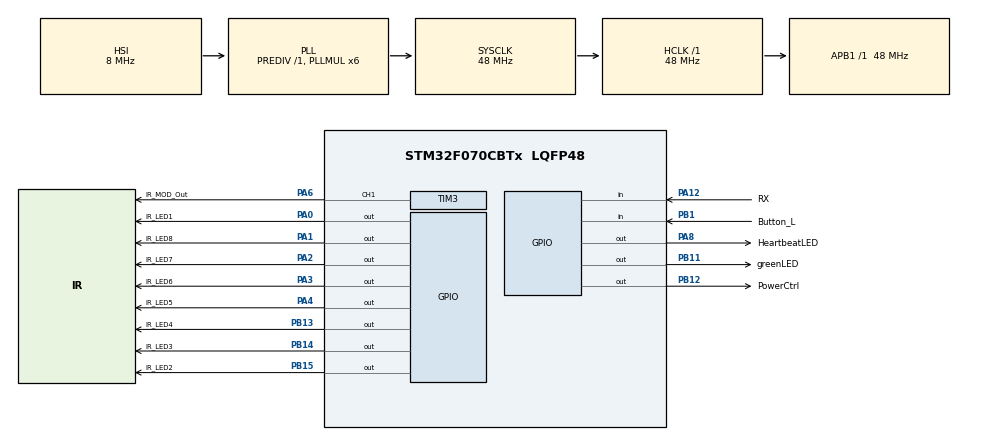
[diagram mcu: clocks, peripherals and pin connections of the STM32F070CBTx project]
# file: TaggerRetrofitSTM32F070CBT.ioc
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FREERTOS.Queues01=LED_BlinkStyle,1,LED_BlinkProfile,0,Dynamic,NULL,NULL;tagSignature,1,LTTO_IR_SIGNATURE_t,0,Dynamic,NULL,NULL
FREERTOS.Tasks01=defaultTask,24,128,StartDefaultTask,Default,NULL,Dynamic,NULL,NULL;emitTag,32,128,StartEmitTag,Default,NULL,Dynamic,NULL,NULL;LED,24,128,StartLEDFlash,Default,NULL,Dynamic,NULL,NULL;buttonMonitor,8,128,StartButtonMonitor,Default,NULL,Dynamic,NULL,NULL
Mcu.Family=STM32F0
Mcu.Name=STM32F070CBTx
Mcu.Package=LQFP48
NVIC.TIM17_IRQn=true\:0\:0\:false\:false\:true\:false\:false\:true
NVIC.TIM6_IRQn=true\:3\:0\:false\:false\:true\:true\:true\:true
NVIC.TimeBase=TIM17_IRQn
NVIC.TimeBaseIP=TIM17
PA0.GPIO_Label=IR_LED1
PA0.Signal=GPIO_Output
PA1.GPIO_Label=IR_LED8
PA1.Signal=GPIO_Output
PA12.GPIO_Label=RX
PA12.Signal=GPIO_Input
PA13.Mode=Serial_Wire
PA13.Signal=SYS_SWDIO
PA14.Mode=Serial_Wire
PA14.Signal=SYS_SWCLK
PA2.GPIO_Label=IR_LED7
PA2.Signal=GPIO_Output
PA3.GPIO_Label=IR_LED6
PA3.Signal=GPIO_Output
PA4.GPIO_Label=IR_LED5
PA4.Signal=GPIO_Output
PA6.GPIO_Label=IR_MOD_Out
PA6.Signal=S_TIM3_CH1
PA8.GPIO_Label=HeartbeatLED
PA8.Signal=GPIO_Output
PB1.GPIO_Label=Button_L
PB1.GPIO_PuPd=GPIO_PULLUP
PB1.Signal=GPIO_Input
PB11.GPIO_Label=greenLED
PB11.Signal=GPIO_Output
PB12.GPIO_Label=PowerCtrl
PB12.Signal=GPIO_Output
PB13.GPIO_Label=IR_LED4
PB13.Signal=GPIO_Output
PB14.GPIO_Label=IR_LED3
PB14.Signal=GPIO_Output
PB15.GPIO_Label=IR_LED2
PB15.Signal=GPIO_Output
ProjectManager.HeapSize=0x200
ProjectManager.StackSize=0x400
ProjectManager.TargetToolchain=STM32CubeIDE
RCC.AHBFreq_Value=48000000
RCC.APB1Freq_Value=48000000
RCC.APB1TimFreq_Value=48000000
RCC.HCLKFreq_Value=48000000
RCC.PLLMUL=RCC_PLL_MUL6
RCC.SYSCLKFreq_VALUE=48000000
RCC.SYSCLKSource=RCC_SYSCLKSOURCE_PLLCLK
SH.S_TIM3_CH1.0=TIM3_CH1,PWM Generation1 CH1
TIM3.Channel-PWM\ Generation1\ CH1=TIM_CHANNEL_1
TIM3.Period=1895
TIM3.Pulse-PWM\ Generation1\ CH1=948
TIM6.Period=200-1
TIM6.Prescaler=40-1
VP_FREERTOS_VS_CMSIS_V2.Mode=CMSIS_V2
VP_SYS_VS_tim17.Mode=TIM17
VP_TIM6_VS_ClockSourceINT.Mode=Enable_Timer
board=custom

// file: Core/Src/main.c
/* USER CODE BEGIN Header */
/**
 ******************************************************************************
 * @file           : main.c
 * @brief          : Main program body
 ******************************************************************************
 * @attention
 *
 * <h2><center>&copy; Copyright (c) 2020 STMicroelectronics.
 * All rights reserved.</center></h2>
 *
 * This software component is licensed by ST under BSD 3-Clause license,
 * the "License"; You may not use this file except in compliance with the
 * License. You may obtain a copy of the License at:
 *                        opensource.org/licenses/BSD-3-Clause
 *
 ******************************************************************************
 */
/* USER CODE END Header */
#include "main.h"
#include "cmsis_os.h"

/* USER CODE BEGIN Includes */
#include "queue.h"
#include "stdbool.h"

#include "../../Libraries/ltto-ir/LTTO_IR_DataStructures.h"
#include "../../Libraries/ltto-ir/LTTO_IR_RX_AutoConvert.h"
#include "../../Libraries/ltto-ir/LTTO_IR_RX.h"
#include "../../Libraries/ltto-ir/LTTO_IR_TX.h"
/* USER CODE END Includes */

/* USER CODE BEGIN PTD */
typedef enum {
	PROGRAM = 1,
	COUNTDOWN = 2,
	DETONATE = 3,
	SHUTDOWN = 4
} StateMachineState;

typedef enum {
	ULTRA = 1,
	SLOW_BLINK = 2,
	MEDIUM_BLINK = 3,
	FAST_BLINK = 4,
	SOLID_LED = 5,
	OCCASIONAL_BLIP = 6
} LED_BlinkProfile;

/* USER CODE END PTD */

TIM_HandleTypeDef htim3;
TIM_HandleTypeDef htim6;

/* Definitions for defaultTask */
osThreadId_t defaultTaskHandle;
const osThreadAttr_t defaultTask_attributes = {
  .name = "defaultTask",
  .priority = (osPriority_t) osPriorityNormal,
  .stack_size = 128 * 4
};
/* Definitions for emitTag */
osThreadId_t emitTagHandle;
const osThreadAttr_t emitTag_attributes = {
  .name = "emitTag",
  .priority = (osPriority_t) osPriorityAboveNormal,
  .stack_size = 128 * 4
};
/* Definitions for LED */
osThreadId_t LEDHandle;
const osThreadAttr_t LED_attributes = {
  .name = "LED",
  .priority = (osPriority_t) osPriorityNormal,
  .stack_size = 128 * 4
};
/* Definitions for buttonMonitor */
osThreadId_t buttonMonitorHandle;
const osThreadAttr_t buttonMonitor_attributes = {
  .name = "buttonMonitor",
  .priority = (osPriority_t) osPriorityLow,
  .stack_size = 128 * 4
};
/* Definitions for LED_BlinkStyle */
osMessageQueueId_t LED_BlinkStyleHandle;
const osMessageQueueAttr_t LED_BlinkStyle_attributes = {
  .name = "LED_BlinkStyle"
};
/* Definitions for tagSignature */
osMessageQueueId_t tagSignatureHandle;
const osMessageQueueAttr_t tagSignature_attributes = {
  .name = "tagSignature"
};
/* USER CODE BEGIN PV */
StateMachineState presentState = PROGRAM;
LTTO_IR_SIGNATURE_t tempSignature;
/* USER CODE END PV */

void SystemClock_Config(void);
static void MX_GPIO_Init(void);
static void MX_TIM3_Init(void);
static void MX_TIM6_Init(void);
void StartDefaultTask(void *argument);
void StartEmitTag(void *argument);
void StartLEDFlash(void *argument);
void StartButtonMonitor(void *argument);

int main(void)
{

  /* MCU Configuration--------------------------------------------------------*/

  /* Reset of all peripherals, Initializes the Flash interface and the Systick. */
  HAL_Init();

  /* Configure the system clock */
  SystemClock_Config();

  /* Initialize all configured peripherals */
  MX_GPIO_Init();
  MX_TIM3_Init();
  MX_TIM6_Init();
  /* USER CODE BEGIN 2 */

	//Start Timer
	HAL_TIM_Base_Start_IT(&htim6);
	// Start the 38kHz PWM output
	HAL_TIM_PWM_Start(&htim3, TIM_CHANNEL_1);

  /* USER CODE END 2 */

  /* Init scheduler */
  osKernelInitialize();

  /* Create the queue(s) */
  /* creation of LED_BlinkStyle */
  LED_BlinkStyleHandle = osMessageQueueNew (1, sizeof(LED_BlinkProfile), &LED_BlinkStyle_attributes);

  /* creation of tagSignature */
  tagSignatureHandle = osMessageQueueNew (1, sizeof(LTTO_IR_SIGNATURE_t), &tagSignature_attributes);

  /* Create the thread(s) */
  /* creation of defaultTask */
  defaultTaskHandle = osThreadNew(StartDefaultTask, NULL, &defaultTask_attributes);

  /* creation of emitTag */
  emitTagHandle = osThreadNew(StartEmitTag, NULL, &emitTag_attributes);

  /* creation of LED */
  LEDHandle = osThreadNew(StartLEDFlash, NULL, &LED_attributes);

  /* creation of buttonMonitor */
  buttonMonitorHandle = osThreadNew(StartButtonMonitor, NULL, &buttonMonitor_attributes);

  /* Start scheduler */
  osKernelStart();

  /* We should never get here as control is now taken by the scheduler */
  /* Infinite loop */
	while (1)
	{

	}
}

void SystemClock_Config(void)
{
  RCC_OscInitTypeDef RCC_OscInitStruct = {0};
  RCC_ClkInitTypeDef RCC_ClkInitStruct = {0};

  /** Initializes the RCC Oscillators according to the specified parameters
  * in the RCC_OscInitTypeDef structure.
  */
  RCC_OscInitStruct.OscillatorType = RCC_OSCILLATORTYPE_HSI;
  RCC_OscInitStruct.HSIState = RCC_HSI_ON;
  RCC_OscInitStruct.HSICalibrationValue = RCC_HSICALIBRATION_DEFAULT;
  RCC_OscInitStruct.PLL.PLLState = RCC_PLL_ON;
  RCC_OscInitStruct.PLL.PLLSource = RCC_PLLSOURCE_HSI;
  RCC_OscInitStruct.PLL.PLLMUL = RCC_PLL_MUL6;
  RCC_OscInitStruct.PLL.PREDIV = RCC_PREDIV_DIV1;
  if (HAL_RCC_OscConfig(&RCC_OscInitStruct) != HAL_OK)
  {
    Error_Handler();
  }
  /** Initializes the CPU, AHB and APB buses clocks
  */
  RCC_ClkInitStruct.ClockType = RCC_CLOCKTYPE_HCLK|RCC_CLOCKTYPE_SYSCLK
                              |RCC_CLOCKTYPE_PCLK1;
  RCC_ClkInitStruct.SYSCLKSource = RCC_SYSCLKSOURCE_PLLCLK;
  RCC_ClkInitStruct.AHBCLKDivider = RCC_SYSCLK_DIV1;
  RCC_ClkInitStruct.APB1CLKDivider = RCC_HCLK_DIV1;

  if (HAL_RCC_ClockConfig(&RCC_ClkInitStruct, FLASH_LATENCY_1) != HAL_OK)
  {
    Error_Handler();
  }
}

static void MX_TIM3_Init(void)
{

  TIM_MasterConfigTypeDef sMasterConfig = {0};
  TIM_OC_InitTypeDef sConfigOC = {0};

  htim3.Instance = TIM3;
  htim3.Init.Prescaler = 0;
  htim3.Init.CounterMode = TIM_COUNTERMODE_UP;
  htim3.Init.Period = 1895;
  htim3.Init.ClockDivision = TIM_CLOCKDIVISION_DIV1;
  htim3.Init.AutoReloadPreload = TIM_AUTORELOAD_PRELOAD_DISABLE;
  if (HAL_TIM_PWM_Init(&htim3) != HAL_OK)
  {
    Error_Handler();
  }
  sMasterConfig.MasterOutputTrigger = TIM_TRGO_RESET;
  sMasterConfig.MasterSlaveMode = TIM_MASTERSLAVEMODE_DISABLE;
  if (HAL_TIMEx_MasterConfigSynchronization(&htim3, &sMasterConfig) != HAL_OK)
  {
    Error_Handler();
  }
  sConfigOC.OCMode = TIM_OCMODE_PWM1;
  sConfigOC.Pulse = 948;
  sConfigOC.OCPolarity = TIM_OCPOLARITY_HIGH;
  sConfigOC.OCFastMode = TIM_OCFAST_DISABLE;
  if (HAL_TIM_PWM_ConfigChannel(&htim3, &sConfigOC, TIM_CHANNEL_1) != HAL_OK)
  {
    Error_Handler();
  }
  HAL_TIM_MspPostInit(&htim3);

}

static void MX_TIM6_Init(void)
{

  htim6.Instance = TIM6;
  htim6.Init.Prescaler = 40-1;
  htim6.Init.CounterMode = TIM_COUNTERMODE_UP;
  htim6.Init.Period = 200-1;
  htim6.Init.AutoReloadPreload = TIM_AUTORELOAD_PRELOAD_DISABLE;
  if (HAL_TIM_Base_Init(&htim6) != HAL_OK)
  {
    Error_Handler();
  }

}

static void MX_GPIO_Init(void)
{
  GPIO_InitTypeDef GPIO_InitStruct = {0};

  /* GPIO Ports Clock Enable */
  __HAL_RCC_GPIOA_CLK_ENABLE();
  __HAL_RCC_GPIOB_CLK_ENABLE();

  /*Configure GPIO pin Output Level */
  HAL_GPIO_WritePin(GPIOA, IR_LED1_Pin|IR_LED8_Pin|IR_LED7_Pin|IR_LED6_Pin
                          |IR_LED5_Pin|HeartbeatLED_Pin, GPIO_PIN_RESET);

  /*Configure GPIO pin Output Level */
  HAL_GPIO_WritePin(GPIOB, greenLED_Pin|PowerCtrl_Pin|IR_LED4_Pin|IR_LED3_Pin
                          |IR_LED2_Pin, GPIO_PIN_RESET);

  /*Configure GPIO pins : IR_LED1_Pin IR_LED8_Pin IR_LED7_Pin IR_LED6_Pin
                           IR_LED5_Pin HeartbeatLED_Pin */
  GPIO_InitStruct.Pin = IR_LED1_Pin|IR_LED8_Pin|IR_LED7_Pin|IR_LED6_Pin
                          |IR_LED5_Pin|HeartbeatLED_Pin;
  GPIO_InitStruct.Mode = GPIO_MODE_OUTPUT_PP;
  GPIO_InitStruct.Pull = GPIO_NOPULL;
  GPIO_InitStruct.Speed = GPIO_SPEED_FREQ_LOW;
  HAL_GPIO_Init(GPIOA, &GPIO_InitStruct);

  /*Configure GPIO pin : Button_L_Pin */
  GPIO_InitStruct.Pin = Button_L_Pin;
  GPIO_InitStruct.Mode = GPIO_MODE_INPUT;
  GPIO_InitStruct.Pull = GPIO_PULLUP;
  HAL_GPIO_Init(Button_L_GPIO_Port, &GPIO_InitStruct);

  /*Configure GPIO pins : greenLED_Pin PowerCtrl_Pin IR_LED4_Pin IR_LED3_Pin
                           IR_LED2_Pin */
  GPIO_InitStruct.Pin = greenLED_Pin|PowerCtrl_Pin|IR_LED4_Pin|IR_LED3_Pin
                          |IR_LED2_Pin;
  GPIO_InitStruct.Mode = GPIO_MODE_OUTPUT_PP;
  GPIO_InitStruct.Pull = GPIO_NOPULL;
  GPIO_InitStruct.Speed = GPIO_SPEED_FREQ_LOW;
  HAL_GPIO_Init(GPIOB, &GPIO_InitStruct);

  /*Configure GPIO pin : RX_Pin */
  GPIO_InitStruct.Pin = RX_Pin;
  GPIO_InitStruct.Mode = GPIO_MODE_INPUT;
  GPIO_InitStruct.Pull = GPIO_NOPULL;
  HAL_GPIO_Init(RX_GPIO_Port, &GPIO_InitStruct);

}

void StartDefaultTask(void *argument)
{
  /* USER CODE BEGIN 5 */
	HAL_GPIO_WritePin(PowerCtrl_GPIO_Port, PowerCtrl_Pin, GPIO_PIN_SET);
	LED_BlinkProfile blinkStyle;
	/* Infinite loop */
	for(;;)
	{
		switch(presentState){
		case PROGRAM:
			if(LTTO_IR_RX_AC_NewSingleSignatureReady()) {
				LTTO_IR_RX_AC_GetSingleSignature(&tempSignature);
				if(tempSignature.signatureType == LTTO_IR_SIGNATURE_TYPE_TAG) {
					presentState = COUNTDOWN;
				}
				LTTO_IR_RX_AC_Clear();
			}
			osDelay(10);
			break;
		case COUNTDOWN:
			blinkStyle = SLOW_BLINK;
			xQueueSendToBack(LED_BlinkStyleHandle, &blinkStyle, 0);
			osDelay(5000);
			if(presentState == SHUTDOWN){ //Lazy way to make sure we respond to button hold
				break;
			}

			blinkStyle = MEDIUM_BLINK;
			xQueueSendToBack(LED_BlinkStyleHandle, &blinkStyle, 0);
			osDelay(3000);
			if(presentState == SHUTDOWN){ //Lazy way to make sure we respond to button hold
				break;
			}

			blinkStyle = FAST_BLINK;
			xQueueSendToBack(LED_BlinkStyleHandle, &blinkStyle, 0);
			osDelay(2000);

			xQueueSendToBack(tagSignatureHandle, &tempSignature, 0);
			blinkStyle = SOLID_LED;
			xQueueSendToBack(LED_BlinkStyleHandle, &blinkStyle, 0);
			presentState = DETONATE;
			break;
		case DETONATE:

			osDelay(5); //Wait for detonate to complete (or button to be held)
			break;

		case SHUTDOWN:
			blinkStyle = OCCASIONAL_BLIP;
			xQueueSendToBack(LED_BlinkStyleHandle, &blinkStyle, 0);
			HAL_GPIO_WritePin(PowerCtrl_GPIO_Port, PowerCtrl_Pin, GPIO_PIN_RESET);
			break;
		}
		osDelay(10);
	}
  /* USER CODE END 5 */
}

void StartEmitTag(void *argument)
{
  /* USER CODE BEGIN StartEmitTag */
	/* Infinite loop */
	for(;;)
	{
		//Our TX buffer
		int LTTO_IR_TX_txPulseMS[21];
		int LTTO_IR_TX_txPulseCount = 0;
		LTTO_IR_SIGNATURE_t signatureToSend;

		GPIO_TypeDef* portArray[8] = {IR_LED1_GPIO_Port, IR_LED2_GPIO_Port, IR_LED3_GPIO_Port,
				IR_LED4_GPIO_Port, IR_LED5_GPIO_Port, IR_LED6_GPIO_Port, IR_LED7_GPIO_Port, IR_LED8_GPIO_Port};
		uint16_t pinArray [8] = {IR_LED1_Pin, IR_LED2_Pin, IR_LED3_Pin, IR_LED4_Pin, IR_LED5_Pin,
				IR_LED6_Pin, IR_LED7_Pin, IR_LED8_Pin };

		xQueueReceive(tagSignatureHandle, &signatureToSend, portMAX_DELAY);
		LTTO_IR_CONV_SignatureToPulses(&signatureToSend, &LTTO_IR_TX_txPulseMS, &LTTO_IR_TX_txPulseCount);
		//LTTO_IR_SIGNATURE_t *sourceSignature, int destinationPulseTickMSBuffer[], int *destinationPulseCount
		for(int detonationRound = 0; detonationRound < 3; detonationRound++){ //Fire off 3 sets of 8 shots
			for(int emitter = 0; emitter < 8; emitter++) {
				for(int pulseIndex = 0; pulseIndex < LTTO_IR_TX_txPulseCount; pulseIndex++){
					if(pulseIndex % 2 == 0) {
						//Odd index, active IR period
						HAL_GPIO_WritePin(portArray[emitter], pinArray[emitter], GPIO_PIN_SET);
						osDelay(LTTO_IR_TX_txPulseMS[pulseIndex]);
					}
					else{
						//Even index, inactive IR period
						HAL_GPIO_WritePin(portArray[emitter], pinArray[emitter], GPIO_PIN_RESET);
						osDelay(LTTO_IR_TX_txPulseMS[pulseIndex]);
					}
				}
				osDelay(100); //100 ms inter-tag spacing
			}
		}
		presentState = SHUTDOWN; //kill the power
		osDelay(1000); //Sleep so other tasks can grab the Mutex
	}
  /* USER CODE END StartEmitTag */
}

void StartLEDFlash(void *argument)
{
  /* USER CODE BEGIN StartLEDFlash */
	LED_BlinkProfile blinkStyle = ULTRA;
	uint16_t onTime;
	uint16_t offTime;
	uint32_t prevTime;
	bool LEDisOn;

	xQueueSendToBack(LED_BlinkStyleHandle, &blinkStyle, 0);
	/* Infinite loop */
	for(;;)
	{
		if(xQueueReceive(LED_BlinkStyleHandle, &blinkStyle, 0)){
			switch(blinkStyle){
			case ULTRA:
				onTime = 20;
				offTime = 20;
				break;
			case SLOW_BLINK:
				onTime = 500;
				offTime = 500;
				break;
			case MEDIUM_BLINK:
				onTime = 200;
				offTime = 200;
				break;
			case FAST_BLINK:
				onTime = 100;
				offTime = 100;
				break;
			case SOLID_LED:
				onTime = 65000;
				offTime = 0;
				break;
			case OCCASIONAL_BLIP:
				onTime = 20;
				offTime = 1000;
			}
			prevTime = HAL_GetTick();
			//Start with LED on
			LEDisOn = true;
			HAL_GPIO_WritePin(greenLED_GPIO_Port, greenLED_Pin, GPIO_PIN_RESET); //Turn on the LED (inverted)
			HAL_GPIO_WritePin(HeartbeatLED_GPIO_Port, HeartbeatLED_Pin, GPIO_PIN_SET); //Turn on the heartbeat LED
		}
		if(LEDisOn){
			if(HAL_GetTick()-prevTime > onTime){ //If on-time has elapsed
				HAL_GPIO_WritePin(greenLED_GPIO_Port, greenLED_Pin, GPIO_PIN_SET); //Turn off the LED (inverted)
				HAL_GPIO_WritePin(HeartbeatLED_GPIO_Port, HeartbeatLED_Pin, GPIO_PIN_RESET); //Turn off the heartbeat LED
				LEDisOn = false;
				prevTime = HAL_GetTick(); //Reset timer so we can time the off time
			}
		}
		else{
			if(HAL_GetTick()-prevTime > offTime){ //If off-time has elapsed
				HAL_GPIO_WritePin(greenLED_GPIO_Port, greenLED_Pin, GPIO_PIN_RESET); //Turn on the LED (inverted)
				HAL_GPIO_WritePin(HeartbeatLED_GPIO_Port, HeartbeatLED_Pin, GPIO_PIN_SET); //Turn on the heartbeat LED
				LEDisOn = true;
				prevTime = HAL_GetTick(); //Reset timer so we can time the off time
			}
		}
		osDelay(10);
	}

  /* USER CODE END StartLEDFlash */
}

void StartButtonMonitor(void *argument)
{
  /* USER CODE BEGIN StartButtonMonitor */
	int resetCount = 30; //for button push
	int failToProgramCount = 60 * 10; //Shutdown if not programmed within 60s
	int interval = 100; //ms
	int currentCount = resetCount;
	/* Infinite loop */
	for(;;)
	{
		if(HAL_GPIO_ReadPin(Button_L_GPIO_Port, Button_L_Pin)==GPIO_PIN_RESET){ //button pressed
			currentCount--; //decrement the countdown
		}
		else{
			currentCount = resetCount; //reset the countdown
		}
		if(presentState == PROGRAM){
			failToProgramCount--;
		}
		if(currentCount <= 0 || failToProgramCount <= 0){
			presentState = SHUTDOWN; //kill the power
		}
		osDelay(interval);
	}
  /* USER CODE END StartButtonMonitor */
}

 /**
  * @brief  Period elapsed callback in non blocking mode
  * @note   This function is called  when TIM17 interrupt took place, inside
  * HAL_TIM_IRQHandler(). It makes a direct call to HAL_IncTick() to increment
  * a global variable "uwTick" used as application time base.
  * @param  htim : TIM handle
  * @retval None
  */
void HAL_TIM_PeriodElapsedCallback(TIM_HandleTypeDef *htim)
{
  /* USER CODE BEGIN Callback 0 */

	static uint16_t IR_RX_SensorTicks = 0;
	static bool IR_RX_LastState;
	static bool IR_RX_currentState;
  /* USER CODE END Callback 0 */
  if (htim->Instance == TIM17) {
    HAL_IncTick();
  }
  /* USER CODE BEGIN Callback 1 */
	if (htim == &htim6 )  { // 0.2ms Interrupt
		if(HAL_GPIO_ReadPin(RX_GPIO_Port, RX_Pin) == GPIO_PIN_SET){
			IR_RX_currentState = true;
		}
		else{
			IR_RX_currentState = false;
		}
		//Handle IR reception
		//If the state is the same as last time
		if(IR_RX_currentState == IR_RX_LastState) {
			//If this pulse has gone longer than 10ms, and we haven't already decided we've timed out...
			if((IR_RX_SensorTicks / LTTO_IR_RX_TICKS_PER_MS) > 10 && IR_RX_SensorTicks != IR_RX_SENSOR_TICKS_GAVE_UP) {
				//Pass it into the RX processor
				//Invert the sensor state, since IR receivers are active-low
				LTTO_IR_RX_AC_NewIRPulseReceived(IR_RX_SensorTicks, !IR_RX_LastState);
				//And mark this pulse as having already been processed
				IR_RX_SensorTicks = IR_RX_SENSOR_TICKS_GAVE_UP;
			} else {
				//Otherwise, increment the counter
				IR_RX_SensorTicks++;
			}
		} else {
			//If we haven't already processed this pulse due to timing out...
			if(IR_RX_SensorTicks != IR_RX_SENSOR_TICKS_GAVE_UP) {
				//Pass it into the processor.
				//Invert the state, since IR receivers are active-low.
				LTTO_IR_RX_AC_NewIRPulseReceived(IR_RX_SensorTicks, !IR_RX_LastState);
			}
			//And reset the timer
			IR_RX_SensorTicks = 0;
			//And store the current state of the pin
			IR_RX_LastState = IR_RX_currentState;
		}
	}

  /* USER CODE END Callback 1 */
}

void Error_Handler(void)
{
}

/************************ (C) COPYRIGHT STMicroelectronics *****END OF FILE****/
